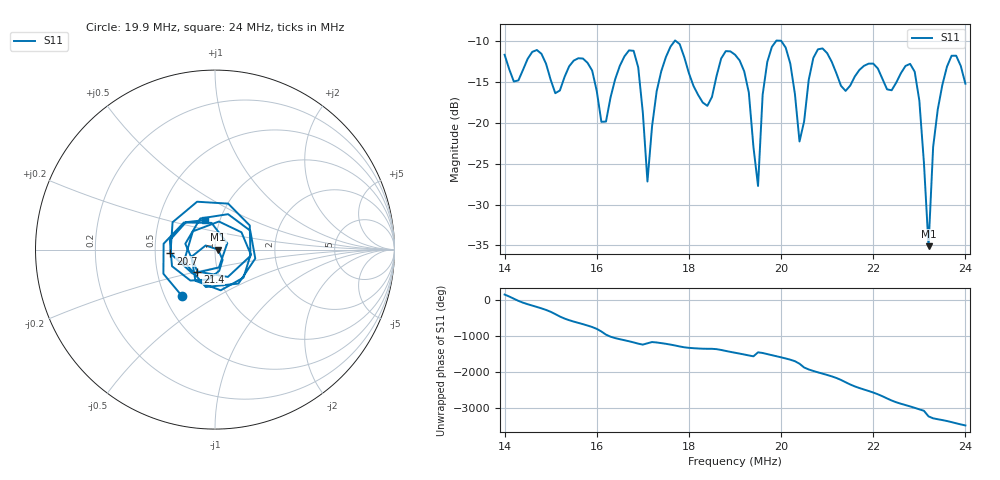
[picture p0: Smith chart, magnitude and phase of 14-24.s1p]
# HZ S RI R 50
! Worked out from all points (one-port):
!   101 points, 14 MHz to 24 MHz, reference 50 ohm
!   lowest |S11| = -35.1 dB at 23.2 MHz (marker M1), VSWR 1.04, Z = 51.8 + j0.0252 ohm
!   |S11| at or under -10 dB: start of sweep to 17.69 MHz; 17.71 MHz to 19.89 MHz (2.179 MHz wide, 11.6 % of centre); 20 MHz to end of sweep
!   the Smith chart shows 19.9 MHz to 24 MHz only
!   S11 on the Smith chart (normalised r, x): 19.9 MHz: 0.61, -0.36; 20.7 MHz: 0.60, -0.03; 21.4 MHz: 0.80, -0.20; 24 MHz: 0.85, +0.29
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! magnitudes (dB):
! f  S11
! 14 MHz  -11.7
! 14.2 MHz  -15.0
! 15.3 MHz  -14.4
! 15.8 MHz  -12.7
! 16.2 MHz  -19.9
! 16.5 MHz  -13.0
! 16.9 MHz  -13.2
! 17.1 MHz  -27.2
! 17.4 MHz  -13.7
! 17.8 MHz  -10.4
! 18.4 MHz  -17.9
! 19 MHz  -11.7
! 19.3 MHz  -16.3
! 19.5 MHz  -27.7
! 19.6 MHz  -16.6
! 19.9 MHz  -9.9
! 20.3 MHz  -16.5
! 20.4 MHz  -22.3
! 20.7 MHz  -12.1
! 21.4 MHz  -16.1
! 21.5 MHz  -15.5
! 22.8 MHz  -12.8
! 23 MHz  -17.3
! 23.2 MHz  -35.1
! 23.3 MHz  -23.0
! 23.5 MHz  -15.4
! 23.7 MHz  -11.8
! 24 MHz  -15.2
